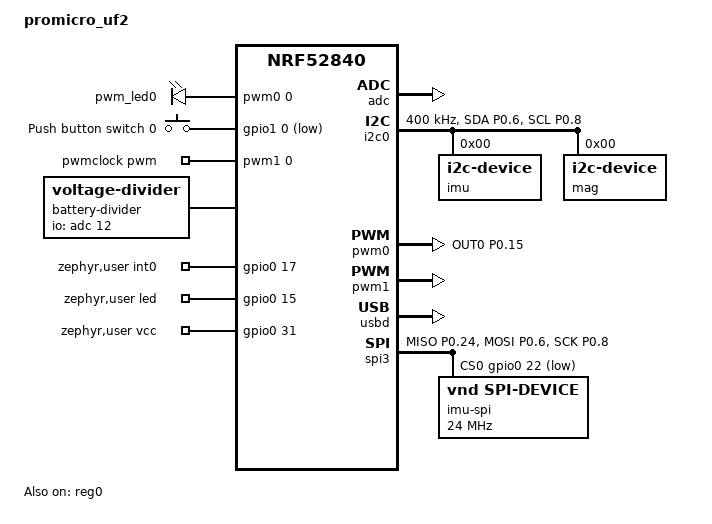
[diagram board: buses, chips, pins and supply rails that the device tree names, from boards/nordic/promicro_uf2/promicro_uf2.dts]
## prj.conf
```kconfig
#CONFIG_NCS_SAMPLES_DEFAULTS
CONFIG_ASSERT=y
CONFIG_ASSERT_NO_COND_INFO=y
CONFIG_ASSERT_NO_MSG_INFO=y
CONFIG_RESET_ON_FATAL_ERROR=y

CONFIG_NCS_APPLICATION_BOOT_BANNER_STRING="SlimeVR-Tracker-nRF"
#CONFIG_NCS_BOOT_BANNER=n
CONFIG_BOOT_BANNER=n

CONFIG_ESB=y
#need to enable for nRF54L
#CONFIG_NRFX_DPPI10=y

CONFIG_ADC=y
CONFIG_ADC_NRFX_SAADC=y
CONFIG_FPU=y
CONFIG_I2C=y
CONFIG_SPI=y
CONFIG_PINCTRL=y
CONFIG_SENSOR=y

CONFIG_NVS=y
CONFIG_NVS_LOOKUP_CACHE=y
CONFIG_NVS_INIT_BAD_MEMORY_REGION=y

CONFIG_POWEROFF=y
CONFIG_REBOOT=y

CONFIG_FLASH=y
CONFIG_FLASH_PAGE_LAYOUT=y
CONFIG_FLASH_MAP=y

CONFIG_SETTINGS=y
CONFIG_SETTINGS_RUNTIME=y
CONFIG_SETTINGS_NONE=y

CONFIG_MPU_ALLOW_FLASH_WRITE=y

CONFIG_RETAINED_MEM=y

CONFIG_USE_SEGGER_RTT=y
CONFIG_LOG=y
#CONFIG_PRINTK=y
CONFIG_LOG_MODE_DEFERRED=y
CONFIG_LOG_SPEED=y
CONFIG_LOG_BACKEND_RTT=y
CONFIG_CBPRINTF_FP_SUPPORT=y
CONFIG_ADC_LOG_LEVEL_OFF=y
CONFIG_LOG_FUNC_NAME_PREFIX_ERR=y
CONFIG_LOG_BUFFER_SIZE=1536
CONFIG_LOG_BACKEND_UART_AUTOSTART=n
CONFIG_LOG_PROCESS_THREAD_SLEEP_MS=50
CONFIG_LOG_PROCESS_THREAD_STACK_SIZE=1024

CONFIG_PWM=y
CONFIG_GPIO=y

CONFIG_CRC=y

CONFIG_NEWLIB_LIBC=y
#deprecated?
#CONFIG_NRFX_TIMER1=y

#speed up boot? (use internal rc oscillator)
CONFIG_CLOCK_CONTROL_NRF_K32SRC_RC=y
CONFIG_CLOCK_CONTROL_NRF_K32SRC_RC_CALIBRATION=n
#speed up boot? (synthesize lf clock)
#CONFIG_CLOCK_CONTROL_NRF_K32SRC_SYNTH=y

# dont need it
CONFIG_CRYPTO=n

# set timeout for 25ms, sufficient for ~1000 bytes
CONFIG_I2C_NRFX_TRANSFER_TIMEOUT=25

CONFIG_USB_DEVICE_HID=y
CONFIG_USB_DEVICE_VID=0x1209
CONFIG_USB_DEVICE_PID=0x7692
CONFIG_USB_HID_BOOT_PROTOCOL=y
CONFIG_USB_DEVICE_INITIALIZE_AT_BOOT=n
CONFIG_USB_CDC_ACM=y
CONFIG_UART_INTERRUPT_DRIVEN=y
CONFIG_USB_WORKQUEUE_STACK_SIZE=512

CONFIG_SERIAL=y
CONFIG_CONSOLE=y
CONFIG_RTT_CONSOLE=y
CONFIG_UART_CONSOLE=y
CONFIG_UART_LINE_CTRL=y
# fit "write all <base64:173>"
CONFIG_CONSOLE_INPUT_MAX_LINE_LEN=256

CONFIG_LOG=y
CONFIG_USB_DRIVER_LOG_LEVEL_ERR=y
CONFIG_USB_DEVICE_LOG_LEVEL_ERR=y
CONFIG_USB_CDC_ACM_LOG_LEVEL_OFF=y

CONFIG_LOG_BACKEND_UART=y

CONFIG_CONSOLE_SUBSYS=y
CONFIG_CONSOLE_GETLINE=y

CONFIG_NVS_LOG_LEVEL_WRN=y
CONFIG_USB_HID_LOG_LEVEL_WRN=y

CONFIG_USB_DEVICE_SOF=y
CONFIG_USB_HID_REPORTS=256

#CONFIG_USB_HID_POLL_INTERVAL_MS=1
CONFIG_USB_HID_POLL_INTERVAL_MS=0
CONFIG_HID_INTERRUPT_EP_MPS=64
#CONFIG_ENABLE_HID_INT_OUT_EP=y

CONFIG_SYSTEM_WORKQUEUE_STACK_SIZE=256
CONFIG_MAIN_STACK_SIZE=512
#crashing on nrf54l at 512

CONFIG_THREAD_NAME=y

# TODO: because of icm426, this will break things and needs to be raised to at least 3k
CONFIG_HEAP_MEM_POOL_SIZE=2048
CONFIG_ISR_STACK_SIZE=1024

CONFIG_PM_DEVICE=y
CONFIG_USE_IMU_WAKE_UP=n
CONFIG_USE_IMU_TIMEOUT=n
CONFIG_USE_ACTIVE_TIMEOUT=n
CONFIG_BASE64=y

#CONFIG_THREAD_ANALYZER=y
#CONFIG_THREAD_ANALYZER_AUTO=y
#CONFIG_THREAD_ANALYZER_AUTO_INTERVAL=5
CONFIG_BATTERY_USE_REG_LDO_MAPPING=y
```

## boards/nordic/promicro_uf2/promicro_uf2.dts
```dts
// Copyright (c) 2024 Nordic Semiconductor ASA
// SPDX-License-Identifier: Apache-2.0

/dts-v1/;
#include <nordic/nrf52840_qiaa.dtsi>

//move to dtsi?
&pinctrl {
	i2c0_default: i2c0_default {
		group1 {
			psels = <NRF_PSEL(TWIM_SDA, 0, 6)>, <NRF_PSEL(TWIM_SCL, 0, 8)>;
			bias-disable;
		};
	};

	i2c0_sleep: i2c0_sleep {
		group1 {
			psels = <NRF_PSEL(TWIM_SDA, 0, 6)>, <NRF_PSEL(TWIM_SCL, 0, 8)>;
			bias-disable;
			low-power-enable;
		};
	};

	pwm0_default: pwm0_default {
		group1 {
			psels = <NRF_PSEL(PWM_OUT0, 0, 15)>;
			nordic,drive-mode = <NRF_DRIVE_D0S1>;
		};
	};

	pwm0_sleep: pwm0_sleep {
		group1 {
			psels = <NRF_PSEL(PWM_OUT0, 0, 15)>;
			low-power-enable;
		};
	};

	pwm1_default: pwm1_default {
		group1 {
			psels = <NRF_PIN_DISCONNECTED>;
		};
	};

	pwm1_sleep: pwm1_sleep {
		group1 {
			psels = <NRF_PIN_DISCONNECTED>;
			low-power-enable;
		};
	};

	spi3_default: spi3_default {
		group1 {
			psels = <NRF_PSEL(SPIM_MISO, 0, 24)>,
					<NRF_PSEL(SPIM_MOSI, 0, 6)>,
					<NRF_PSEL(SPIM_SCK, 0, 8)>;
		};
	};

	spi3_sleep: spi3_sleep {
		group1 {
			psels = <NRF_PSEL(SPIM_MISO, 0, 24)>,
					<NRF_PSEL(SPIM_MOSI, 0, 6)>,
					<NRF_PSEL(SPIM_SCK, 0, 8)>;
			low-power-enable;
		};
	};
};
//end

/ {
	model = "promicro_uf2";
	compatible = "promicro_uf2";

	chosen {
		zephyr,sram = &sram0;
		zephyr,flash = &flash0;
		zephyr,console = &cdc_acm_uart0;
		zephyr,shell-uart = &cdc_acm_uart0;
	};

	pwmleds {
		compatible = "pwm-leds";
		pwm_led0: pwm_led_0 {
			pwms = <&pwm0 0 PWM_MSEC(1) PWM_POLARITY_NORMAL>;
		};
	};

	buttons {
		compatible = "gpio-keys";
		button0: button_0 {
			gpios = <&gpio1 0 (GPIO_PULL_UP | GPIO_ACTIVE_LOW)>;
			label = "Push button switch 0";
		};
	};

	aliases {
		// sw0 = &button0; // Uncomment to Enable SW0
		pwm-led0 = &pwm_led0;
	};

	pwmclock: pwmclock {
		compatible = "pwm-clock";
		#clock-cells = <1>;
		pwms = <&pwm1 0 PWM_HZ(32768) PWM_POLARITY_NORMAL>;
	};

	battery-divider {
		compatible = "voltage-divider";
		status = "okay";
		io-channels = <&adc 12>; // Measure VDDHDIV5
		output-ohms = <1>;
		full-ohms = <5>;
	};

	zephyr,user {
		int0-gpios = <&gpio0 17 0>;
		led-gpios = <&gpio0 15 GPIO_OPEN_SOURCE>;
		// clk-gpios = <&gpio0 20 GPIO_OPEN_DRAIN>; // Uncomment and set to correct pin if using an external clock (crystal oscillator)
		vcc-gpios = <&gpio0 31 0>;
	};

};

&reg0 {
	status = "okay";
};

&reg1 {
	regulator-initial-mode = <NRF5X_REG_MODE_DCDC>;
};

&adc {
	status = "okay";
};

&gpiote {
	status = "okay";
};

&gpio0 {
	status = "okay";
};

&gpio1 {
	status = "okay";
};

&i2c0 {
	compatible = "nordic,nrf-twim";
	status = "okay";
	zephyr,concat-buf-size = <1023>;
	zephyr,flash-buf-max-size = <1023>;
	clock-frequency = <I2C_BITRATE_FAST>;
	pinctrl-0 = <&i2c0_default>;
	pinctrl-1 = <&i2c0_sleep>;
	pinctrl-names = "default", "sleep";

	imu: imu@0 { // any address out of range (00, 7f, etc. will search all addresses and stored address first if available, specify an address here to search first otherwise
		compatible = "i2c-device";
		label = "imu";
		reg = <0>;
	};

	mag: mag@0 {
		compatible = "i2c-device";
		label = "mag";
		reg = <0>;
	};

};

&pwm0 {
	status = "okay";
	pinctrl-0 = <&pwm0_default>;
	pinctrl-1 = <&pwm0_sleep>;
	pinctrl-names = "default", "sleep";
};

&pwm1 {
	status = "okay";
	pinctrl-0 = <&pwm1_default>;
	pinctrl-1 = <&pwm1_sleep>;
	pinctrl-names = "default", "sleep";
};

zephyr_udc0: &usbd {
	compatible = "nordic,nrf-usbd";
	status = "okay";
	cdc_acm_uart0: cdc_acm_uart0 {
		compatible = "zephyr,cdc-acm-uart";
	};
};

&cryptocell {
	status = "disabled";
};

&nfct {
	status = "disabled";
};

&spi3 {
	compatible = "nordic,nrf-spim";
	status = "okay";
	max-frequency = <DT_FREQ_M(24)>;
	pinctrl-0 = <&spi3_default>;
	pinctrl-1 = <&spi3_sleep>;
	pinctrl-names = "default", "sleep";
	cs-gpios = <&gpio0 22 GPIO_ACTIVE_LOW>;

	imu_spi: imu_spi@0 {
		compatible = "vnd,spi-device";
		spi-max-frequency = <DT_FREQ_M(24)>;
		label = "imu-spi";
		reg = <0>;
	};
};
```

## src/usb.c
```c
#include "globals.h"
#include "console.h"
#include "hid.h"
#include "system/status.h"

#if CONFIG_USB_DEVICE_STACK
#define USB DT_NODELABEL(usbd)
#define USB_EXISTS (DT_NODE_HAS_STATUS(USB, okay) && CONFIG_UART_CONSOLE)
#endif

#if USB_EXISTS
#include <zephyr/usb/usb_device.h>
#include <zephyr/usb/class/usb_hid.h>
#include <zephyr/logging/log_ctrl.h>
#include <zephyr/pm/device.h>

static bool configured;

#if CONFIG_PM_DEVICE
#define PM_DEVICE_ACTION_RUN(device, action) pm_device_action_run((device), (action))
#else
#define PM_DEVICE_ACTION_RUN(device, action) 0
#endif

LOG_MODULE_REGISTER(usb, LOG_LEVEL_INF);

static void usb_init_thread(void);
K_THREAD_DEFINE(usb_init_thread_id, 256, usb_init_thread, NULL, NULL, NULL, USB_INIT_THREAD_PRIORITY, 0, 500); // Wait before enabling USB

static void status_cb(enum usb_dc_status_code status, const uint8_t *param)
{
	const struct log_backend *backend = log_backend_get_by_name("log_backend_uart");
	const struct device *const cons = DEVICE_DT_GET(DT_CHOSEN(zephyr_console));
	bool use_hid = CONFIG_0_SETTINGS_READ(CONFIG_0_CONNECTION_OVER_HID);
	switch (status)
	{
	case USB_DC_RESET:
		configured = false;
		break;
	case USB_DC_CONNECTED:
		set_status(SYS_STATUS_USB_CONNECTED, true);
		PM_DEVICE_ACTION_RUN(cons, PM_DEVICE_ACTION_RESUME);
		log_backend_enable(backend, backend->cb->ctx, CONFIG_LOG_MAX_LEVEL);
		console_thread_create();
		if (use_hid)
			hid_thread_create();
		break;
	case USB_DC_CONFIGURED:
		int configurationIndex = *param;
		if (configurationIndex == 0)
		{
			// from usb_device.c: A configuration index of 0 unconfigures the device.
			configured = false;
		}
		else
		{
			if (!configured)
			{
				hid_int_in_ready();
				configured = true;
			}
		}
		break;
	case USB_DC_DISCONNECTED:
		set_status(SYS_STATUS_USB_CONNECTED, false);
		if (use_hid)
			hid_thread_abort();
		console_thread_abort();
		log_backend_disable(backend);
		PM_DEVICE_ACTION_RUN(cons, PM_DEVICE_ACTION_SUSPEND);
		break;
	case USB_DC_SOF:
		break;
	default:
		LOG_DBG("status %u unhandled", status);
		break;
	}
}

static void usb_init_thread(void)
{
	usb_enable(status_cb);
}

#endif
```
